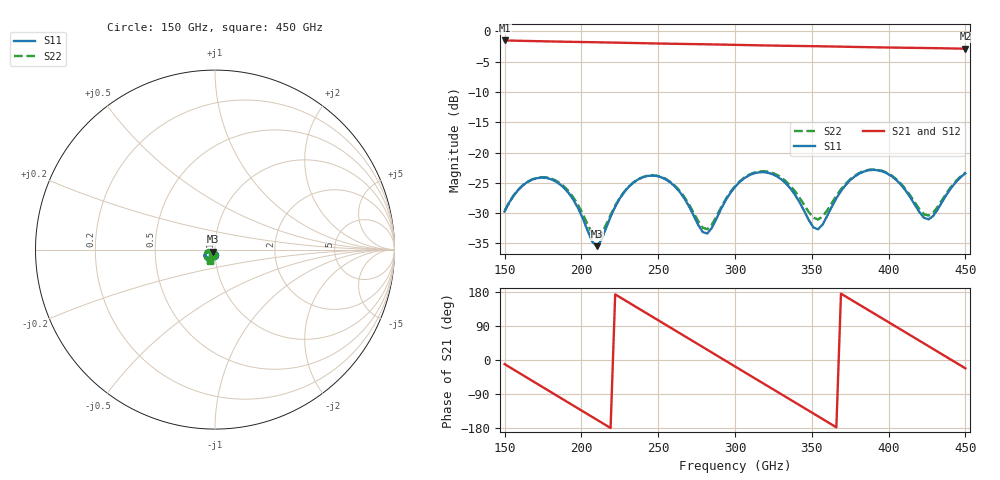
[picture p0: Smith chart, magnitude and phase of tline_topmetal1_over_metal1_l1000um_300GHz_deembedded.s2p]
! Created with skrf 2.2.0 (http://scikit-rf.org).
# GHz S DB R 50.0
! Port[1] = P1
! Port[2] = P2
!freq dBS11 angS11 dBS21 angS21 dBS12 angS12 dBS22 angS22
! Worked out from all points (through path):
!   101 points, 150 GHz to 450 GHz, reference 50 ohm
!   highest |S21| = -1.49 dB at 150 GHz (marker M1); lowest = -2.9 dB at 450 GHz (marker M2)
!   group delay of S21, straight-line fit = 6.77 ps
!   lowest |S11| = -35.4 dB at 210 GHz (marker M3), VSWR 1.03, Z = 48.7 - j1.06 ohm
!   |S11| at or under -10 dB: start of sweep to end of sweep
!   |S22| runs from -34.1 to -22.8 dB; largest |S21 - S12| = 9.7e-14
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150  -29.74 -102.6  -1.49 -10.9  -1.49 -10.9  -29.60 -108.0
165  -24.85 -124.1  -1.58 -47.6  -1.58 -47.6  -24.81 -125.4
177  -24.19 -146.7  -1.64 -76.9  -1.64 -76.9  -24.09 -146.5
189  -25.90 -167.6  -1.70 -106.2  -1.70 -106.2  -25.67 -165.9
201  -30.93 -176.2  -1.76 -135.5  -1.76 -135.5  -30.21 -173.1
210  -35.45 -139.9  -1.80 -157.5  -1.80 -157.5  -34.05 -142.9
228  -26.48 -111.1  -1.88 158.5  -1.88 158.5  -26.42 -113.7
252  -24.08 -150.4  -2.01 100.0  -2.01 100.0  -24.01 -150.2
267  -27.56 -169.4  -2.07 63.5  -2.07 63.5  -27.32 -167.8
282  -33.36 -133.9  -2.13 26.9  -2.13 26.9  -32.64 -135.0
300  -25.67 -112.1  -2.22 -17.0  -2.22 -17.0  -25.55 -112.6
315  -23.28 -134.3  -2.30 -53.5  -2.30 -53.5  -23.14 -133.2
327  -23.88 -153.7  -2.35 -82.7  -2.35 -82.7  -23.64 -151.3
339  -26.94 -167.2  -2.40 -111.8  -2.40 -111.8  -26.38 -163.2
351  -32.34 -148.8  -2.44 -141.1  -2.44 -141.1  -30.74 -147.6
363  -28.94 -107.0  -2.49 -170.3  -2.49 -170.3  -28.33 -112.8
375  -24.56 -113.1  -2.55 160.5  -2.55 160.5  -24.41 -116.3
390  -22.86 -135.2  -2.62 124.0  -2.62 124.0  -22.78 -136.4
402  -23.91 -152.7  -2.67 94.9  -2.67 94.9  -23.79 -152.7
426  -31.03 -132.2  -2.75 36.5  -2.75 36.5  -30.41 -132.8
438  -26.84 -106.9  -2.80 7.3  -2.80 7.3  -26.60 -108.6
450  -23.43 -116.0  -2.86 -21.9  -2.86 -21.9  -23.31 -116.6
